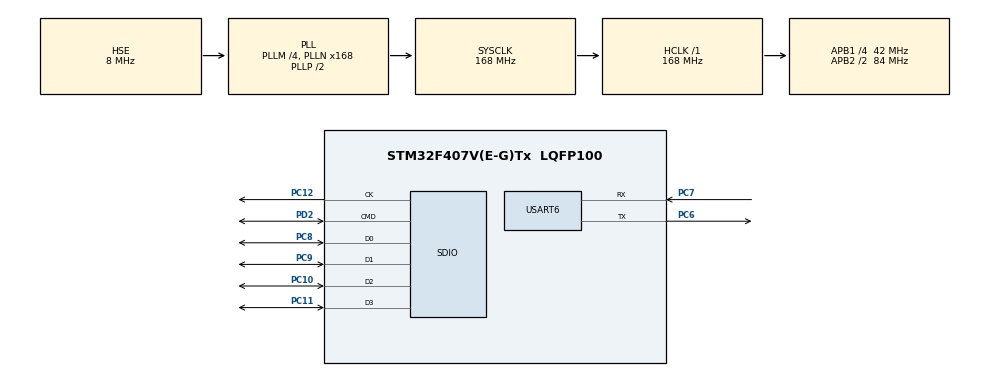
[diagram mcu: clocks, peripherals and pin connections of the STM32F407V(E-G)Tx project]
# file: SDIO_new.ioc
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Dma.Request0=SDIO_RX
Dma.Request1=SDIO_TX
Dma.SDIO_RX.0.Direction=DMA_PERIPH_TO_MEMORY
Dma.SDIO_RX.0.FIFOMode=DMA_FIFOMODE_ENABLE
Dma.SDIO_RX.0.FIFOThreshold=DMA_FIFO_THRESHOLD_FULL
Dma.SDIO_RX.0.Instance=DMA2_Stream3
Dma.SDIO_RX.0.MemBurst=DMA_MBURST_INC4
Dma.SDIO_RX.0.MemDataAlignment=DMA_MDATAALIGN_WORD
Dma.SDIO_RX.0.MemInc=DMA_MINC_ENABLE
Dma.SDIO_RX.0.Mode=DMA_PFCTRL
Dma.SDIO_RX.0.PeriphBurst=DMA_PBURST_INC4
Dma.SDIO_RX.0.PeriphDataAlignment=DMA_PDATAALIGN_WORD
Dma.SDIO_RX.0.PeriphInc=DMA_PINC_DISABLE
Dma.SDIO_RX.0.Priority=DMA_PRIORITY_LOW
Dma.SDIO_TX.1.Direction=DMA_MEMORY_TO_PERIPH
Dma.SDIO_TX.1.FIFOMode=DMA_FIFOMODE_ENABLE
Dma.SDIO_TX.1.FIFOThreshold=DMA_FIFO_THRESHOLD_FULL
Dma.SDIO_TX.1.Instance=DMA2_Stream6
Dma.SDIO_TX.1.MemBurst=DMA_MBURST_INC4
Dma.SDIO_TX.1.MemDataAlignment=DMA_MDATAALIGN_WORD
Dma.SDIO_TX.1.MemInc=DMA_MINC_ENABLE
Dma.SDIO_TX.1.Mode=DMA_PFCTRL
Dma.SDIO_TX.1.PeriphBurst=DMA_PBURST_INC4
Dma.SDIO_TX.1.PeriphDataAlignment=DMA_PDATAALIGN_WORD
Dma.SDIO_TX.1.PeriphInc=DMA_PINC_DISABLE
Dma.SDIO_TX.1.Priority=DMA_PRIORITY_LOW
FATFS.USE_DMA_CODE_SD=1
FATFS._MAX_SS=4096
Mcu.Family=STM32F4
Mcu.Name=STM32F407V(E-G)Tx
Mcu.Package=LQFP100
NVIC.DMA2_Stream3_IRQn=true\:0\:0\:false\:false\:true\:false\:true
NVIC.DMA2_Stream6_IRQn=true\:0\:0\:false\:false\:true\:false\:true
NVIC.PriorityGroup=NVIC_PRIORITYGROUP_4
NVIC.SDIO_IRQn=true\:0\:0\:false\:false\:true\:true\:true
NVIC.TIM8_TRG_COM_TIM14_IRQn=true\:15\:0\:false\:false\:true\:false\:true
NVIC.TimeBase=TIM8_TRG_COM_TIM14_IRQn
NVIC.TimeBaseIP=TIM14
PA13.Mode=Serial_Wire
PA13.Signal=SYS_JTMS-SWDIO
PA14.Mode=Serial_Wire
PA14.Signal=SYS_JTCK-SWCLK
PC10.GPIO_PuPd=GPIO_PULLUP
PC10.Mode=SD_4_bits_Wide_bus
PC10.Signal=SDIO_D2
PC11.GPIO_PuPd=GPIO_PULLUP
PC11.Mode=SD_4_bits_Wide_bus
PC11.Signal=SDIO_D3
PC12.Mode=SD_4_bits_Wide_bus
PC12.Signal=SDIO_CK
PC6.Mode=Asynchronous
PC6.Signal=USART6_TX
PC7.Mode=Asynchronous
PC7.Signal=USART6_RX
PC8.GPIO_PuPd=GPIO_PULLUP
PC8.Mode=SD_4_bits_Wide_bus
PC8.Signal=SDIO_D0
PC9.GPIO_PuPd=GPIO_PULLUP
PC9.Mode=SD_4_bits_Wide_bus
PC9.Signal=SDIO_D1
PD2.GPIO_PuPd=GPIO_PULLUP
PD2.Mode=SD_4_bits_Wide_bus
PD2.Signal=SDIO_CMD
PH0-OSC_IN.Mode=HSE-External-Oscillator
PH0-OSC_IN.Signal=RCC_OSC_IN
PH1-OSC_OUT.Mode=HSE-External-Oscillator
PH1-OSC_OUT.Signal=RCC_OSC_OUT
ProjectManager.HeapSize=0x200
ProjectManager.StackSize=0x400
ProjectManager.TargetToolchain=STM32CubeIDE
RCC.48MHZClocksFreq_Value=48000000
RCC.AHBFreq_Value=168000000
RCC.APB1CLKDivider=RCC_HCLK_DIV4
RCC.APB1Freq_Value=42000000
RCC.APB1TimFreq_Value=84000000
RCC.APB2CLKDivider=RCC_HCLK_DIV2
RCC.APB2Freq_Value=84000000
RCC.APB2TimFreq_Value=168000000
RCC.CortexFreq_Value=168000000
RCC.HCLKFreq_Value=168000000
RCC.HSE_VALUE=8000000
RCC.HSI_VALUE=16000000
RCC.LSE_VALUE=32768
RCC.PLLM=4
RCC.PLLN=168
RCC.PLLQ=7
RCC.PLLSourceVirtual=RCC_PLLSOURCE_HSE
RCC.SYSCLKFreq_VALUE=168000000
RCC.SYSCLKSource=RCC_SYSCLKSOURCE_PLLCLK
RCC.VCOOutputFreq_Value=336000000
USART6.VirtualMode=VM_ASYNC
VP_FATFS_VS_SDIO.Mode=SDIO
VP_SYS_VS_tim14.Mode=TIM14
board=custom

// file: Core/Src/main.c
/* USER CODE BEGIN Header */
/**
  ******************************************************************************
  * @file           : main.c
  * @brief          : Main program body
  ******************************************************************************
  * @attention
  *
  * Copyright (c) 2022 STMicroelectronics.
  * All rights reserved.
  *
  * This software is licensed under terms that can be found in the LICENSE file
  * in the root directory of this software component.
  * If no LICENSE file comes with this software, it is provided AS-IS.
  *
  ******************************************************************************
  */
/* USER CODE END Header */
#include "main.h"
#include "fatfs.h"

/* USER CODE BEGIN Includes */
#include "File_Handling.h"
/* USER CODE END Includes */

SD_HandleTypeDef hsd;
DMA_HandleTypeDef hdma_sdio_rx;
DMA_HandleTypeDef hdma_sdio_tx;

UART_HandleTypeDef huart6;

void SystemClock_Config(void);
static void MX_GPIO_Init(void);
static void MX_DMA_Init(void);
static void MX_SDIO_SD_Init(void);
static void MX_USART6_UART_Init(void);
/* USER CODE BEGIN PFP */
int _write(int file, char *ptr, int len) {
	int i;
	HAL_UART_Transmit(&huart6, (uint8_t*) ptr, len, 50);
	for (i = 0; i < len; i++) {
		ITM_SendChar(*ptr++);
	}
	return len;
}
/* USER CODE END PFP */

/* USER CODE BEGIN 0 */
char buffer[100];
int indx = 0;
/* USER CODE END 0 */

int main(void)
{

  /* MCU Configuration--------------------------------------------------------*/

  /* Reset of all peripherals, Initializes the Flash interface and the Systick. */
  HAL_Init();

  /* Configure the system clock */
  SystemClock_Config();

  /* Initialize all configured peripherals */
  MX_GPIO_Init();
  MX_DMA_Init();
  MX_SDIO_SD_Init();
  MX_USART6_UART_Init();
  MX_FATFS_Init();
  /* USER CODE BEGIN 2 */
  Mount_SD("/");
  Format_SD();
  Create_Dir("Buttons");// В названии папок нельзя использовать символы "_"!
  Create_File("Buttons/B_config.txt");
  sprintf(buffer, "Buttons hello!");
  Update_File("Buttons/B_config.txt",buffer);
  Create_Dir("Relays"); // В названии папок нельзя использовать символы "_"!
  Create_File("Relays/R_config.txt");
  sprintf(buffer, "Relays hello!");
  Update_File("Relays/R_config.txt",buffer);
  Read_File ("Buttons/B_config.txt");
  Read_File ("Relays/R_config.txt");

  Get_File_Info("Buttons/B_config.txt");
  Get_File_Info("Relays/R_config.txt");

//   char buff[256];
//   strcpy(buff, "/");
//   Scan_files(buff); // НЕ РАБОТАЕТ!!!

//   Check_SD_Space();
//   Scan_SD ("/"); // НЕ РАБОТАЕТ!!!

  Unmount_SD("/");
  int num=1;	//initializing the variable
  /* USER CODE END 2 */

  /* Infinite loop */
  while (1)
  {

    /* USER CODE BEGIN 3 */
		while(num<=2)	//while loop with condition
		{

		Mount_SD("/");
		sprintf(buffer, "Hello from while---> %d\n", indx);
		Update_File("Buttons/B_config.txt", buffer);
		sprintf(buffer, "world from while ---> %d\n", indx);
		Update_File("Relays/R_config.txt", buffer);
		Unmount_SD("/");

		indx++;
		HAL_Delay(2000);
		Check_SD_Space();
		num++;		//incrementing operation
	}

	}
  /* USER CODE END 3 */
}

void SystemClock_Config(void)
{
  RCC_OscInitTypeDef RCC_OscInitStruct = {0};
  RCC_ClkInitTypeDef RCC_ClkInitStruct = {0};

  /** Configure the main internal regulator output voltage
  */
  __HAL_RCC_PWR_CLK_ENABLE();
  __HAL_PWR_VOLTAGESCALING_CONFIG(PWR_REGULATOR_VOLTAGE_SCALE1);
  /** Initializes the RCC Oscillators according to the specified parameters
  * in the RCC_OscInitTypeDef structure.
  */
  RCC_OscInitStruct.OscillatorType = RCC_OSCILLATORTYPE_HSE;
  RCC_OscInitStruct.HSEState = RCC_HSE_ON;
  RCC_OscInitStruct.PLL.PLLState = RCC_PLL_ON;
  RCC_OscInitStruct.PLL.PLLSource = RCC_PLLSOURCE_HSE;
  RCC_OscInitStruct.PLL.PLLM = 4;
  RCC_OscInitStruct.PLL.PLLN = 168;
  RCC_OscInitStruct.PLL.PLLP = RCC_PLLP_DIV2;
  RCC_OscInitStruct.PLL.PLLQ = 7;
  if (HAL_RCC_OscConfig(&RCC_OscInitStruct) != HAL_OK)
  {
    Error_Handler();
  }
  /** Initializes the CPU, AHB and APB buses clocks
  */
  RCC_ClkInitStruct.ClockType = RCC_CLOCKTYPE_HCLK|RCC_CLOCKTYPE_SYSCLK
                              |RCC_CLOCKTYPE_PCLK1|RCC_CLOCKTYPE_PCLK2;
  RCC_ClkInitStruct.SYSCLKSource = RCC_SYSCLKSOURCE_PLLCLK;
  RCC_ClkInitStruct.AHBCLKDivider = RCC_SYSCLK_DIV1;
  RCC_ClkInitStruct.APB1CLKDivider = RCC_HCLK_DIV4;
  RCC_ClkInitStruct.APB2CLKDivider = RCC_HCLK_DIV2;

  if (HAL_RCC_ClockConfig(&RCC_ClkInitStruct, FLASH_LATENCY_5) != HAL_OK)
  {
    Error_Handler();
  }
}

static void MX_SDIO_SD_Init(void)
{

  hsd.Instance = SDIO;
  hsd.Init.ClockEdge = SDIO_CLOCK_EDGE_RISING;
  hsd.Init.ClockBypass = SDIO_CLOCK_BYPASS_DISABLE;
  hsd.Init.ClockPowerSave = SDIO_CLOCK_POWER_SAVE_DISABLE;
  hsd.Init.BusWide = SDIO_BUS_WIDE_1B;
  hsd.Init.HardwareFlowControl = SDIO_HARDWARE_FLOW_CONTROL_DISABLE;
  hsd.Init.ClockDiv = 0;

}

static void MX_USART6_UART_Init(void)
{

  huart6.Instance = USART6;
  huart6.Init.BaudRate = 115200;
  huart6.Init.WordLength = UART_WORDLENGTH_8B;
  huart6.Init.StopBits = UART_STOPBITS_1;
  huart6.Init.Parity = UART_PARITY_NONE;
  huart6.Init.Mode = UART_MODE_TX_RX;
  huart6.Init.HwFlowCtl = UART_HWCONTROL_NONE;
  huart6.Init.OverSampling = UART_OVERSAMPLING_16;
  if (HAL_UART_Init(&huart6) != HAL_OK)
  {
    Error_Handler();
  }

}

static void MX_DMA_Init(void)
{

  /* DMA controller clock enable */
  __HAL_RCC_DMA2_CLK_ENABLE();

  /* DMA interrupt init */
  /* DMA2_Stream3_IRQn interrupt configuration */
  HAL_NVIC_SetPriority(DMA2_Stream3_IRQn, 0, 0);
  HAL_NVIC_EnableIRQ(DMA2_Stream3_IRQn);
  /* DMA2_Stream6_IRQn interrupt configuration */
  HAL_NVIC_SetPriority(DMA2_Stream6_IRQn, 0, 0);
  HAL_NVIC_EnableIRQ(DMA2_Stream6_IRQn);

}

static void MX_GPIO_Init(void)
{

  /* GPIO Ports Clock Enable */
  __HAL_RCC_GPIOH_CLK_ENABLE();
  __HAL_RCC_GPIOC_CLK_ENABLE();
  __HAL_RCC_GPIOA_CLK_ENABLE();
  __HAL_RCC_GPIOD_CLK_ENABLE();

}

void HAL_TIM_PeriodElapsedCallback(TIM_HandleTypeDef *htim)
{
  if (htim->Instance == TIM14) {
    HAL_IncTick();
  }
}

void Error_Handler(void)
{
  __disable_irq();
  while (1)
  {
  }
}
